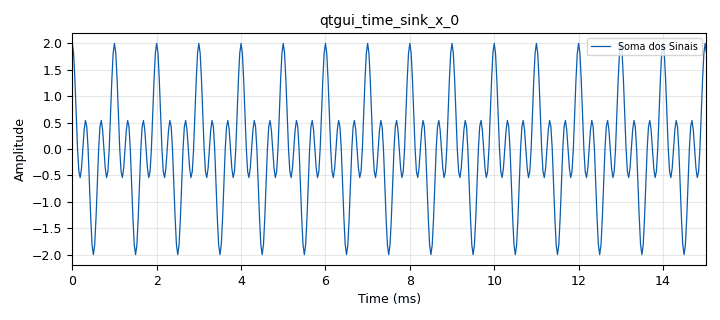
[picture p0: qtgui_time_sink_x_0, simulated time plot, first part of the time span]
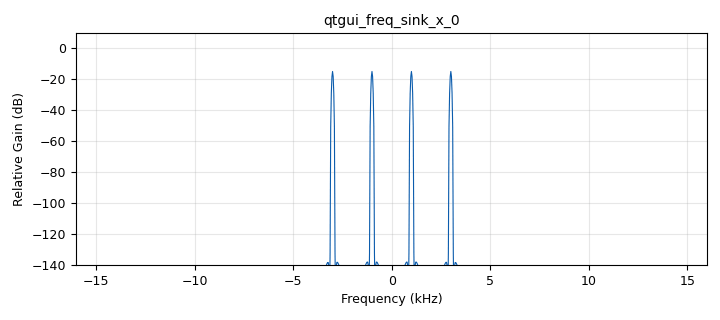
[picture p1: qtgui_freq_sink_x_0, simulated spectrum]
options:
  parameters:
    description: Exemplo 03 - Soma de dois sinais senoidais
    generate_options: qt_gui
    id: exemplo_03_soma_sinais
    output_language: python
    title: Exemplo 03 - Soma de Sinais
  states: {}

blocks:
- name: samp_rate
  id: variable
  parameters:
    value: '32000'
  states: {}
- name: freq1
  id: variable
  parameters:
    value: '1000'
  states: {}
- name: freq2
  id: variable
  parameters:
    value: '3000'
  states: {}
- name: analog_sig_source_x_0
  id: analog_sig_source_x
  parameters:
    amp: '1'
    comment: Sinal 1 - 1 kHz
    freq: freq1
    offset: '0'
    phase: '0'
    samp_rate: samp_rate
    type: float
    waveform: analog.GR_COS_WAVE
  states: {}
- name: analog_sig_source_x_1
  id: analog_sig_source_x
  parameters:
    amp: '1'
    comment: Sinal 2 - 3 kHz
    freq: freq2
    offset: '0'
    phase: '0'
    samp_rate: samp_rate
    type: float
    waveform: analog.GR_COS_WAVE
  states: {}
- name: blocks_add_xx_0
  id: blocks_add_xx
  parameters:
    type: float
  states: {}
- name: blocks_throttle_0
  id: blocks_throttle2
  parameters:
    samples_per_second: samp_rate
    type: float
  states: {}
- name: qtgui_time_sink_x_0
  id: qtgui_time_sink_x
  parameters:
    autoscale: 'True'
    label1: Soma dos Sinais
    size: '1024'
    srate: samp_rate
    type: float
    ymax: '2.5'
    ymin: '-2.5'
  states: {}
- name: qtgui_freq_sink_x_0
  id: qtgui_freq_sink_x
  parameters:
    bw: samp_rate
    fc: '0'
    fftsize: '1024'
    type: float
  states: {}

connections:
- [analog_sig_source_x_0, '0', blocks_add_xx_0, '0']
- [analog_sig_source_x_1, '0', blocks_add_xx_0, '1']
- [blocks_add_xx_0, '0', blocks_throttle_0, '0']
- [blocks_throttle_0, '0', qtgui_time_sink_x_0, '0']
- [blocks_throttle_0, '0', qtgui_freq_sink_x_0, '0']

metadata:
  file_format: 1
  grc_version: 3.10.0.0
